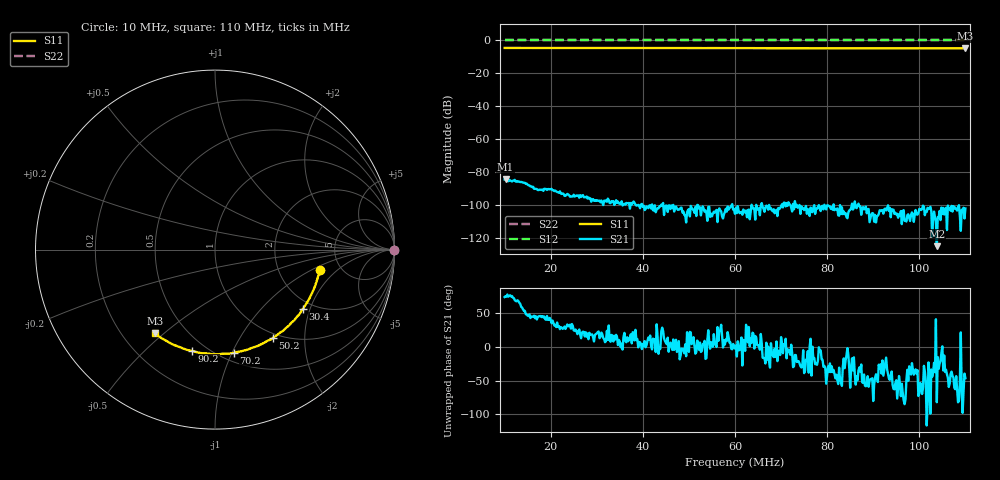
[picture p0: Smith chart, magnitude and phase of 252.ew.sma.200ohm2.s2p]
! Anritsu VNA Master:  Model: MS2036C/10/77
! SN:  1601066
! /card0/usr/200ohm2.s2p
! Existing Calibration Information:
! TYPE:  Current Settings,  Active Cal Settings
! TIME:  12/20/2017 03:55:33 PM,  12/20/2017 03:36:34 PM
! INTERNAL TEMP:  44.3 C,  44.5 C
! # POINTS:  501,  501
! START FREQ:  10.000 MHz,  10.000 MHz
! STOP FREQ:  110.000 MHz,  110.000 MHz
! SOURCE POWER:  High,  High
! IFBW:  100 Hz,  100 Hz
! AVG FACTOR:  1 ,  1
! REF PLANE 1:  0 mm,  0 mm
! REF PLANE 2:  0 mm,  0 mm
! CAL TYPE:  Full S11,  Full S11
! CAL METHOD:  SOLT,  SOLT
! CAL LINE TYPE:  Coax,  Coax
! DUT PORT 1:  K-Conn(F),  K-Conn(F)
! DUT PORT 2:  K-Conn(F),  K-Conn(F)
! CAL STATUS:  OK: Accuracy High,  --
# GHZ S DB R 50.0
! FREQ.GHZ  S11DB  S11A  S21DB  S21A  S12DB  S12A  S22DB  S22A
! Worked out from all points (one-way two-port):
!   501 points, 10 MHz to 110 MHz, reference 50 ohm
!   highest |S21| = -84.06 dB at 10.2 MHz (marker M1); lowest = -124.7 dB at 103.8 MHz (marker M2)
!   lowest |S11| = -4.8 dB at 110 MHz (marker M3), VSWR 3.70, Z = 16.7 - j23.3 ohm
!   |S11| at or under -10 dB: nowhere
!   |S22| runs from 0.0 to 0.0 dB; largest |S21 - S12| = 1
!   S11 on the Smith chart (normalised r, x): 10 MHz: 3.46, -1.23; 30.4 MHz: 1.76, -1.78; 50.2 MHz: 0.93, -1.40; 70.2 MHz: 0.58, -1.02; 90.2 MHz: 0.42, -0.71; 110 MHz: 0.33, -0.47
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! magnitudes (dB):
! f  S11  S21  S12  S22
! 10 MHz  -4.5  -84.2  0.0  0.0
! 10.2 MHz  -4.5  -84.1  0.0  0.0
! 26.8 MHz  -4.6  -94.0  0.0  0.0
! 30.4 MHz  -4.6  -97.3  0.0  0.0
! 33 MHz  -4.5  -98.6  0.0  0.0
! 35.6 MHz  -4.6  -100.0  0.0  0.0
! 37.2 MHz  -4.6  -101.9  0.0  0.0
! 39 MHz  -4.6  -99.6  0.0  0.0
! 43.4 MHz  -4.6  -101.7  0.0  0.0
! 44.4 MHz  -4.6  -98.5  0.0  0.0
! 46.2 MHz  -4.6  -100.0  0.0  0.0
! 50.2 MHz  -4.6  -106.6  0.0  0.0
! 60 MHz  -4.6  -105.0  0.0  0.0
! 70.2 MHz  -4.7  -99.2  0.0  0.0
! 76.8 MHz  -4.7  -104.1  0.0  0.0
! 79.2 MHz  -4.7  -102.4  0.0  0.0
! 83.2 MHz  -4.7  -101.1  0.0  0.0
! 85.6 MHz  -4.7  -102.5  0.0  0.0
! 90.2 MHz  -4.8  -109.8  0.0  0.0
! 93.4 MHz  -4.7  -103.3  0.0  0.0
! 103.8 MHz  -4.8  -124.7  0.0  0.0
! 110 MHz  -4.8  -101.8  0.0  0.0
